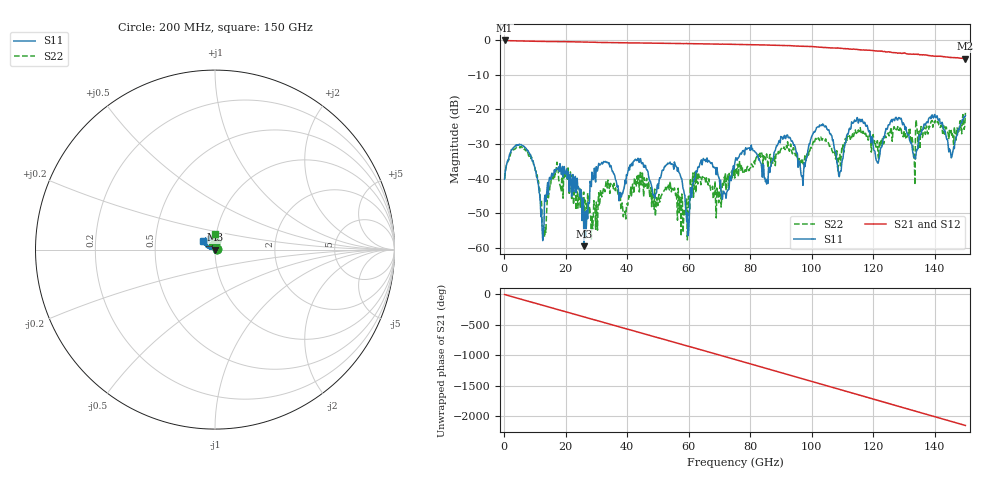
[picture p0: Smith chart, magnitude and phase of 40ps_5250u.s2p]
!  2-Port S-parameters saved by WinCal
! VAR MeasName=S-Parameters (CALIBRATED_DATA) read from VNA (MS4647B)
! VAR MeasDate=16-Sep-21 11:14:59
! VAR NAME=40ps_5250u
! VAR FILENAME=40ps_5250u.S2P
! VAR DATE=16-Sep-21 11:14:59
! VAR PHYS_PORTS=1,2
! VAR ObjTypeName=DATASET
! VAR IndexType=Frequency
# Hz S RI R 50
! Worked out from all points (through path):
!   750 points, 200 MHz to 150 GHz, reference 50 ohm
!   highest |S21| = -0.08 dB at 200 MHz (marker M1); lowest = -5.3 dB at 150 GHz (marker M2)
!   group delay of S21, straight-line fit = 39.8 ps
!   lowest |S11| = -59.5 dB at 26 GHz (marker M3), VSWR 1.00, Z = 50.1 + j0.0301 ohm
!   |S11| at or under -10 dB: start of sweep to end of sweep
!   |S22| runs from -57.7 to -21.0 dB; largest |S21 - S12| = 0.048
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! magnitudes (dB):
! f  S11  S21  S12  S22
! 200 MHz  -40.2  -0.1  -0.1  -40.0
! 7.2 GHz  -31.3  -0.3  -0.3  -31.7
! 13 GHz  -53.7  -0.4  -0.4  -54.3
! 17 GHz  -37.2  -0.4  -0.4  -37.0
! 25.2 GHz  -45.0  -0.5  -0.5  -46.3
! 26 GHz  -59.5  -0.5  -0.5  -43.9
! 32.2 GHz  -35.5  -0.7  -0.7  -43.5
! 50.2 GHz  -42.8  -0.9  -0.9  -45.5
! 56 GHz  -36.5  -0.9  -1.0  -43.9
! 59.6 GHz  -49.8  -1.0  -1.0  -57.7
! 64.4 GHz  -36.0  -1.1  -1.1  -39.5
! 75.2 GHz  -34.6  -1.2  -1.2  -37.3
! 85.2 GHz  -40.2  -1.4  -1.4  -33.4
! 92.4 GHz  -28.1  -1.6  -1.6  -30.4
! 97 GHz  -39.2  -1.8  -1.8  -34.1
! 100.2 GHz  -27.5  -1.8  -1.9  -30.8
! 109 GHz  -39.4  -2.3  -2.3  -33.9
! 113.6 GHz  -23.9  -2.6  -2.6  -27.8
! 121.4 GHz  -35.4  -3.1  -3.2  -29.0
! 125.2 GHz  -24.4  -3.4  -3.4  -27.6
! 145.2 GHz  -32.6  -5.0  -4.9  -25.7
! 150 GHz  -21.7  -5.3  -5.4  -21.0
